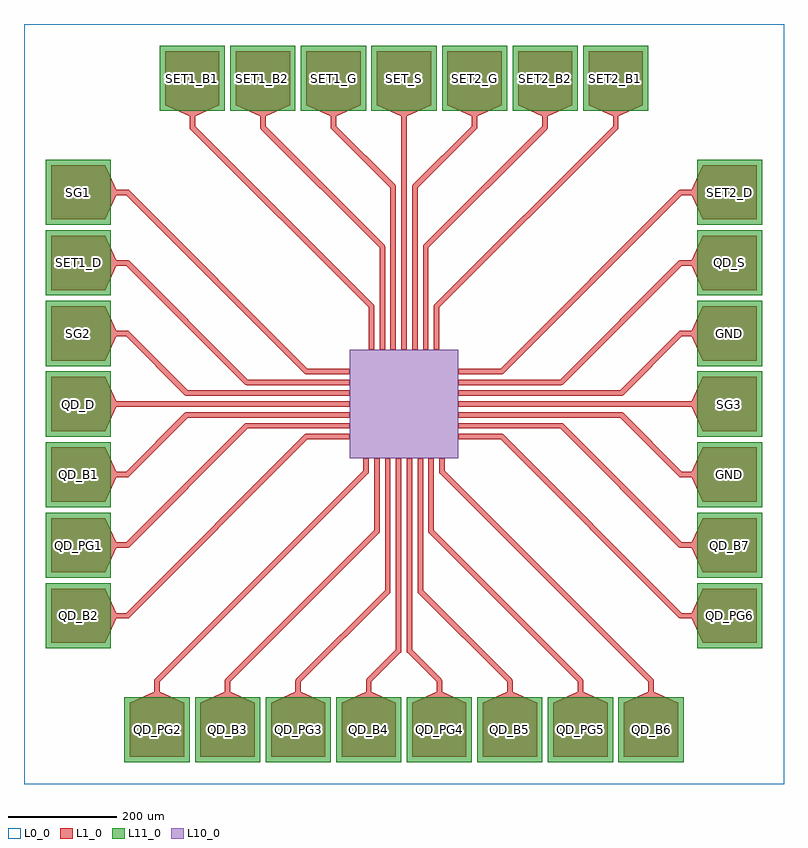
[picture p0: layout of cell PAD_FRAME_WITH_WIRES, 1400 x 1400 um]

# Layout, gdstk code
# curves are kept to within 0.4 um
import gdstk
lib = gdstk.Library(unit=1e-6, precision=1e-09)
def R(c, l, rs):  # rectangles x0, y0, x1, y1
    for r in rs: c.add(gdstk.rectangle(r[:2], r[2:], *l))
def A(c, l, x, y, w, h, nx, ny, dx, dy):  # array of equal rectangles
    R(c, l, [(x+i*dx, y+j*dy, x+i*dx+w, y+j*dy+h) for i in range(nx) for j in range(ny)])
def P(c, l, *ps):  # polygons
    for p in ps: c.add(gdstk.Polygon(p, *l))
L0_0 = (0, 0)
L1_0 = (1, 0)
L10_0 = (10, 0)
L11_0 = (11, 0)

pad_frame_with_wires = lib.new_cell('PAD_FRAME_WITH_WIRES')
R(pad_frame_with_wires, L0_0, [(0,0,1400,1400)])
A(pad_frame_with_wires, L1_0, 195, 50, 100, 100, 8, 1, 130, 0)
A(pad_frame_with_wires, L1_0, 50, 260, 100, 100, 1, 7, 0, 130)
A(pad_frame_with_wires, L1_0, 1250, 260, 100, 100, 1, 7, 0, 130)
A(pad_frame_with_wires, L1_0, 260, 1250, 100, 100, 7, 1, 130, 0)
P(pad_frame_with_wires, L1_0, [(260,1250),(360,1250),(315,1230),(305,1230)],
  [(390,1250),(490,1250),(445,1230),(435,1230)],
  [(520,1250),(620,1250),(575,1230),(565,1230)],
  [(650,1250),(750,1250),(705,1230),(695,1230)],
  [(780,1250),(880,1250),(835,1230),(825,1230)],
  [(910,1250),(1010,1250),(965,1230),(955,1230)],
  [(1040,1250),(1140,1250),(1095,1230),(1085,1230)],
  [(195,150),(295,150),(250,170),(240,170)],
  [(325,150),(425,150),(380,170),(370,170)],
  [(455,150),(555,150),(510,170),(500,170)],
  [(585,150),(685,150),(640,170),(630,170)],
  [(715,150),(815,150),(770,170),(760,170)],
  [(845,150),(945,150),(900,170),(890,170)],
  [(975,150),(1075,150),(1030,170),(1020,170)],
  [(1105,150),(1205,150),(1160,170),(1150,170)],
  [(150,1040),(150,1140),(170,1095),(170,1085)],
  [(150,910),(150,1010),(170,965),(170,955)],
  [(150,780),(150,880),(170,835),(170,825)],
  [(150,650),(150,750),(170,705),(170,695)],
  [(150,520),(150,620),(170,575),(170,565)],
  [(150,390),(150,490),(170,445),(170,435)],
  [(150,260),(150,360),(170,315),(170,305)],
  [(1250,1040),(1250,1140),(1230,1095),(1230,1085)],
  [(1250,910),(1250,1010),(1230,965),(1230,955)],
  [(1250,780),(1250,880),(1230,835),(1230,825)],
  [(1250,650),(1250,750),(1230,705),(1230,695)],
  [(1250,520),(1250,620),(1230,575),(1230,565)],
  [(1250,390),(1250,490),(1230,445),(1230,435)],
  [(1250,260),(1250,360),(1230,315),(1230,305)],
  [(315,1230),(305,1230),(305,1210),(306.464,1206.464),(635,877.929),(635,800),(645,800),(645,880),(643.967,883.044),(315,1212.071)],
  [(445,1230),(435,1230),(435,1210),(436.033,1206.956),(655,987.929),(655,800),(665,800),(665,990),(664.33,992.5),(445,1212.071)],
  [(575,1230),(565,1230),(565,1210),(566.033,1206.956),(675,1097.929),(675,800),(685,800),(684.83,1101.294),(683.536,1103.536),(575,1212.071)],
  [(705,1230),(695,1230),(695,1210),(695,1210),(695,1210),(695,1210),(695,800),(705,800),(705,1210),(705,1210),(705,1210),(705,1210)],
  [(835,1230),(825,1230),(825,1212.071),(716.464,1103.536),(715.17,1101.294),(715,800),(725,800),(725,1097.929),(833.967,1206.956),(835,1210)],
  [(965,1230),(955,1230),(955,1212.071),(735.67,992.5),(735,990),(735,800),(745,800),(745,987.929),(963.536,1206.464),(965,1210)],
  [(1095,1230),(1085,1230),(1085,1212.071),(756.033,883.044),(755,880),(755,800),(765,800),(765,877.929),(1093.536,1206.464),(1095,1210)],
  [(240,170),(250,170),(250,187.929),(633.536,571.464),(635,575),(635,600),(625,600),(625,577.071),(241.464,193.536),(240,190)],
  [(370,170),(380,170),(380,187.929),(654.33,462.5),(655,465),(655,600),(645,600),(645,467.071),(371.464,193.536),(370,190)],
  [(500,170),(510,170),(510,187.929),(674.619,353.087),(675,600),(665,600),(665,357.071),(501.464,193.536),(500,190)],
  [(630,170),(640,170),(640,187.929),(693.536,241.464),(694.957,244.347),(695,600),(685,600),(685,247.071),(631.033,193.044),(630,190)],
  [(760,170),(770,170),(770,190),(769.33,192.5),(715,247.071),(715,600),(705,600),(705.043,244.347),(706.464,241.464),(760,187.929)],
  [(890,170),(900,170),(900,190),(898.967,193.044),(735,357.071),(735,600),(725,600),(725.381,353.087),(890,187.929)],
  [(1020,170),(1030,170),(1030,190),(1028.536,193.536),(755,467.071),(755,600),(745,600),(745,465),(745.67,462.5),(1020,187.929)],
  [(1150,170),(1160,170),(1160,190),(1158.536,193.536),(775,577.071),(775,600),(765,600),(765,575),(766.464,571.464),(1150,187.929)],
  [(170,1095),(170,1085),(187.929,1085),(516.956,756.033),(520,755),(600,755),(600,765),(522.071,765),(193.536,1093.536),(190,1095)],
  [(170,965),(170,955),(187.929,955),(407.5,735.67),(410,735),(600,735),(600,745),(412.071,745),(193.536,963.536),(190,965)],
  [(170,835),(170,825),(187.929,825),(296.464,716.464),(298.706,715.17),(600,715),(600,725),(302.071,725),(193.044,833.967),(190,835)],
  [(170,705),(170,695),(190,695),(190,695),(190,695),(190,695),(600,695),(600,705),(190,705),(190,705),(190,705),(190,705)],
  [(170,575),(170,565),(190,565),(193.044,566.033),(302.071,675),(600,675),(600,685),(298.706,684.83),(296.464,683.536),(187.929,575)],
  [(170,445),(170,435),(190,435),(193.044,436.033),(412.071,655),(600,655),(600,665),(410,665),(407.5,664.33),(187.929,445)],
  [(170,315),(170,305),(190,305),(193.536,306.464),(522.071,635),(600,635),(600,645),(520,645),(516.956,643.967),(187.929,315)],
  [(1230,1085),(1230,1095),(1210,1095),(1206.464,1093.536),(877.929,765),(800,765),(800,755),(880,755),(883.044,756.033),(1212.071,1085)],
  [(1230,955),(1230,965),(1210,965),(1206.956,963.967),(987.929,745),(800,745),(800,735),(990,735),(992.5,735.67),(1212.071,955)],
  [(1230,825),(1230,835),(1210,835),(1206.956,833.967),(1097.929,725),(800,725),(800,715),(1101.294,715.17),(1103.536,716.464),(1212.071,825)],
  [(1230,695),(1230,705),(1210,705),(1210,705),(1210,705),(1210,705),(800,705),(800,695),(1210,695),(1210,695),(1210,695),(1210,695)],
  [(1230,565),(1230,575),(1212.071,575),(1103.536,683.536),(1101.294,684.83),(800,685),(800,675),(1097.929,675),(1206.956,566.033),(1210,565)],
  [(1230,435),(1230,445),(1212.071,445),(992.5,664.33),(990,665),(800,665),(800,655),(987.929,655),(1206.464,436.464),(1210,435)],
  [(1230,305),(1230,315),(1212.071,315),(883.044,643.967),(880,645),(800,645),(800,635),(877.929,635),(1206.464,306.464),(1210,305)])
R(pad_frame_with_wires, L10_0, [(600,600,800,800)])
A(pad_frame_with_wires, L11_0, 185, 40, 120, 120, 8, 1, 130, 0)
A(pad_frame_with_wires, L11_0, 40, 250, 120, 120, 1, 7, 0, 130)
A(pad_frame_with_wires, L11_0, 1240, 250, 120, 120, 1, 7, 0, 130)
A(pad_frame_with_wires, L11_0, 250, 1240, 120, 120, 7, 1, 130, 0)
pad_frame_with_wires.add(gdstk.Label('SET1_B1', (310,1300), layer=2, texttype=0))
pad_frame_with_wires.add(gdstk.Label('SET1_B2', (440,1300), layer=2, texttype=0))
pad_frame_with_wires.add(gdstk.Label('SET1_G', (570,1300), layer=2, texttype=0))
pad_frame_with_wires.add(gdstk.Label('SET_S', (700,1300), layer=2, texttype=0))
pad_frame_with_wires.add(gdstk.Label('SET2_G', (830,1300), layer=2, texttype=0))
pad_frame_with_wires.add(gdstk.Label('SET2_B2', (960,1300), layer=2, texttype=0))
pad_frame_with_wires.add(gdstk.Label('SET2_B1', (1090,1300), layer=2, texttype=0))
pad_frame_with_wires.add(gdstk.Label('QD_PG2', (245,100), layer=2, texttype=0))
pad_frame_with_wires.add(gdstk.Label('QD_B3', (375,100), layer=2, texttype=0))
pad_frame_with_wires.add(gdstk.Label('QD_PG3', (505,100), layer=2, texttype=0))
pad_frame_with_wires.add(gdstk.Label('QD_B4', (635,100), layer=2, texttype=0))
pad_frame_with_wires.add(gdstk.Label('QD_PG4', (765,100), layer=2, texttype=0))
pad_frame_with_wires.add(gdstk.Label('QD_B5', (895,100), layer=2, texttype=0))
pad_frame_with_wires.add(gdstk.Label('QD_PG5', (1025,100), layer=2, texttype=0))
pad_frame_with_wires.add(gdstk.Label('QD_B6', (1155,100), layer=2, texttype=0))
pad_frame_with_wires.add(gdstk.Label('SG1', (100,1090), layer=2, texttype=0))
pad_frame_with_wires.add(gdstk.Label('SET1_D', (100,960), layer=2, texttype=0))
pad_frame_with_wires.add(gdstk.Label('SG2', (100,830), layer=2, texttype=0))
pad_frame_with_wires.add(gdstk.Label('QD_D', (100,700), layer=2, texttype=0))
pad_frame_with_wires.add(gdstk.Label('QD_B1', (100,570), layer=2, texttype=0))
pad_frame_with_wires.add(gdstk.Label('QD_PG1', (100,440), layer=2, texttype=0))
pad_frame_with_wires.add(gdstk.Label('QD_B2', (100,310), layer=2, texttype=0))
pad_frame_with_wires.add(gdstk.Label('SET2_D', (1300,1090), layer=2, texttype=0))
pad_frame_with_wires.add(gdstk.Label('QD_S', (1300,960), layer=2, texttype=0))
pad_frame_with_wires.add(gdstk.Label('GND', (1300,830), layer=2, texttype=0))
pad_frame_with_wires.add(gdstk.Label('SG3', (1300,700), layer=2, texttype=0))
pad_frame_with_wires.add(gdstk.Label('GND', (1300,570), layer=2, texttype=0))
pad_frame_with_wires.add(gdstk.Label('QD_B7', (1300,440), layer=2, texttype=0))
pad_frame_with_wires.add(gdstk.Label('QD_PG6', (1300,310), layer=2, texttype=0))

lib.write_gds('PAD_FRAME_WITH_WIRES.gds')
